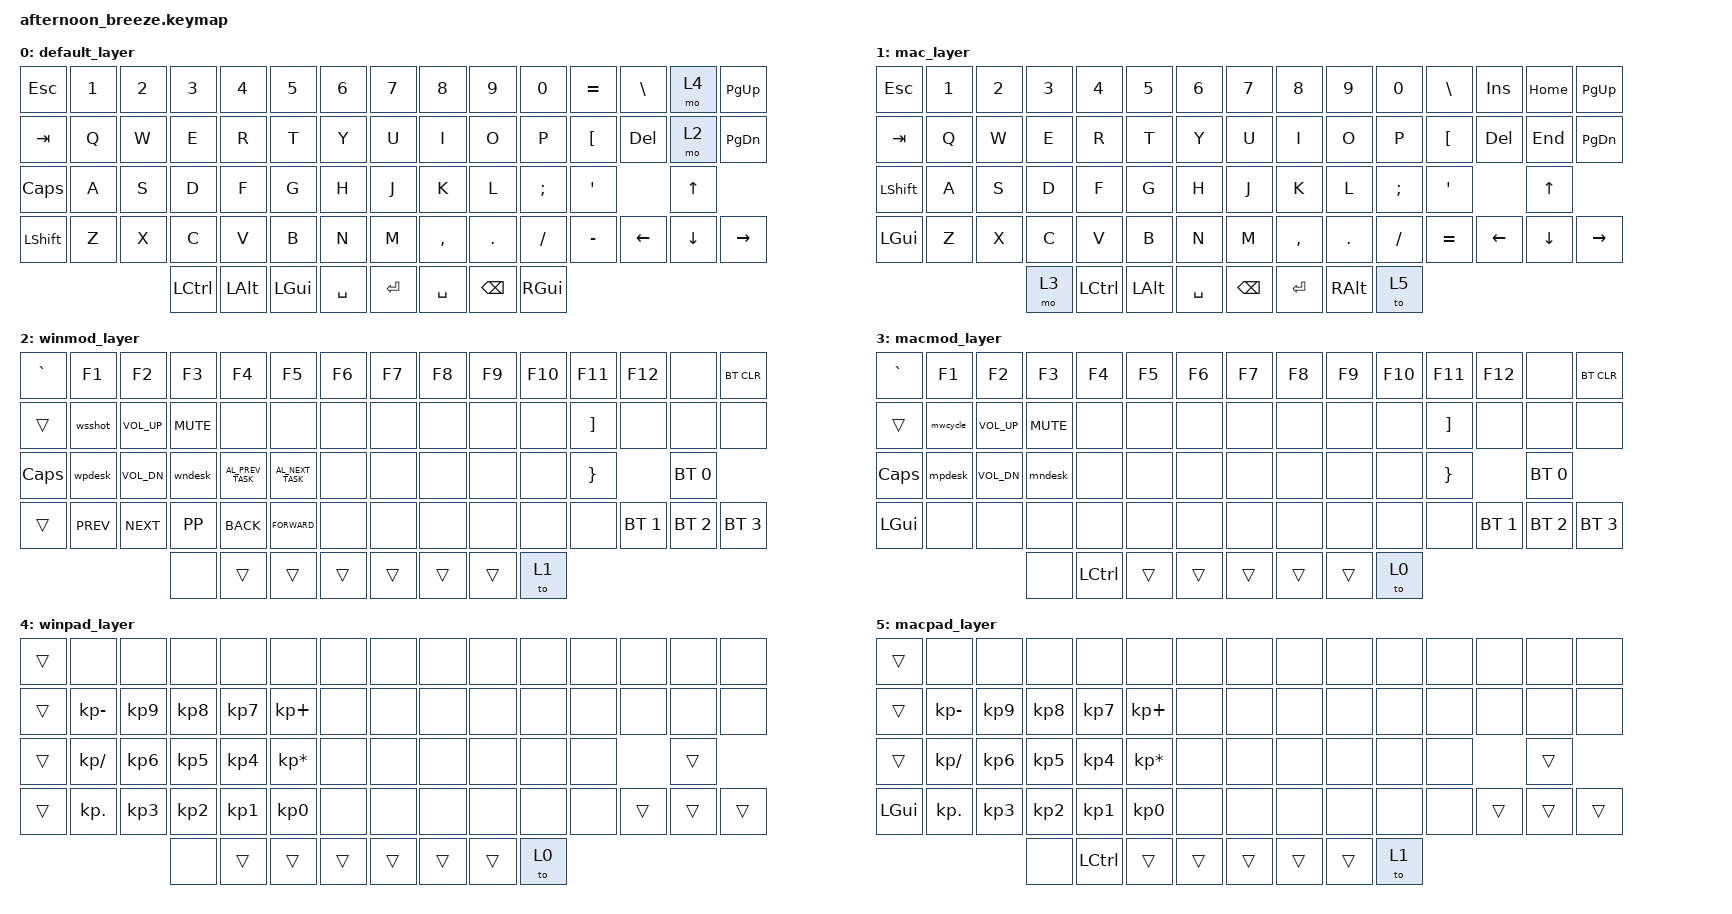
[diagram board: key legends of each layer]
/*
 * Copyright (c) 2022 The ZMK Contributors
 *
 * SPDX-License-Identifier: MIT
 */

#include <behaviors.dtsi>
#include <dt-bindings/zmk/keys.h>
#include <dt-bindings/zmk/bt.h>
#include <dt-bindings/zmk/ext_power.h>

#define DEFAULT 0
#define MAC 1
#define WINMOD 2
#define MACMOD 3
#define WINPAD 4
#define MACPAD 5

/ {

	macros {
		wsshot: wsshot {
            label = "Windows screenshot";
            compatible = "zmk,behavior-macro";
            #binding-cells = <0>;
            bindings =
				<&macro_press &kp LSHFT &kp LGUI>,
                <&macro_tap &kp S>,
                <&macro_release &kp LSHFT &kp LGUI>;
        };

        wpdesk: wpdesk {
            label = "Windows previous desktop";
            compatible = "zmk,behavior-macro";
            #binding-cells = <0>;
            bindings =
				<&macro_press &kp LCTRL &kp LGUI>,
                <&macro_tap &kp LEFT>,
                <&macro_release &kp LCTRL &kp LGUI>;
        };

		wndesk: wndesk {
			label = "Windows next desktop";
            compatible = "zmk,behavior-macro";
            #binding-cells = <0>;
            bindings =
				<&macro_press &kp LCTRL &kp LGUI>,
                <&macro_tap &kp RIGHT>,
                <&macro_release &kp LCTRL &kp LGUI>;
		};

		mpdesk: mpdesk {
			label = "Mac previous desktop";
            compatible = "zmk,behavior-macro";
            #binding-cells = <0>;
            bindings =
				<&macro_press &kp LCTRL>,
                <&macro_tap &kp LEFT>,
                <&macro_release &kp LCTRL>;
		};

		mndesk: mndesk {
			label = "Mac next desktop";
            compatible = "zmk,behavior-macro";
            #binding-cells = <0>;
            bindings =
				<&macro_press &kp LCTRL>,
                <&macro_tap &kp RIGHT>,
                <&macro_release &kp LCTRL>;
		};

		mmcontrol: mmcontrol {
			label = "Mac mission control";
            compatible = "zmk,behavior-macro";
            #binding-cells = <0>;
            bindings =
				<&macro_press &kp LCTRL>,
                <&macro_tap &kp UP>,
                <&macro_release &kp LCTRL>;
		};

		mcapp: mcapp {
			label = "Mac windows in current app";
            compatible = "zmk,behavior-macro";
            #binding-cells = <0>;
            bindings =
				<&macro_press &kp LCTRL>,
                <&macro_tap &kp DOWN>,
                <&macro_release &kp LCTRL>;
		};

		mwcycle: mwcycle {
			label = "Same app window cycle";
            compatible = "zmk,behavior-macro";
            #binding-cells = <0>;
            bindings =
				<&macro_press &kp LGUI>,
                <&macro_tap &kp GRAVE>,
                <&macro_release &kp LCTRL>;
		};
	};

	keymap {
		compatible = "zmk,keymap";

		default_layer {

// Ref: https://zmkfirmware.dev/docs/codes/

//  ----------------------------------------                       ------------------------------------------------------------------
// |  ESC  |  1  |  2  |  3   |  4   |  5   |                     |  6   |  7    |  8    |  9   |   0   |  =   | |  \  |WINPAD| PGUP |
// |-------|-----|-----|------|------|------|                     |------|-------|-------|------|-------|------| |-----|------|------|
// |  TAB  |  Q  |  W  |  E   |  R   |  T   |                     |  Y   |  U    |  I    |  O   |   P   |  [   | | DEL |WINMOD| PGDN |
// |-------|-----|-----|------|------|------|                     |------|-------|-------|------|-------|------|  -----|------|----- |
// | CAPS |  A  |  S  |  D   |  F   |  G   |                     |  H   |  J    |  K    |  L   |   ;   |  '   |       |  UP  |      |
// |-------|-----|-----|------|------|------|                     |------|-------|-------|------|-------|------|  -----|------|----- |
// | SHIFT |  Z  |  X  |  C   |  V   |  B   |                     |  N   |  M    |  ,    |  .   |   /   |  -   | LEFT | DOWN |RIGHT |
//  ---------------- ----------------------------              ------------------------------ ---------------------------------------
//                  |LCONTROL| LALT | LGUI | SPACE |            |ENTER| SPACE | BACKSPACE | RGUI |
//                   ----------------------------              ------------------------------
			bindings = <
&kp ESC     &kp N1 &kp N2 &kp N3 &kp N4   &kp N5                          &kp N6     &kp N7   &kp N8    &kp N9  &kp N0   &kp EQUAL  &kp BSLH  &mo 4     &kp PG_UP
&kp TAB     &kp Q  &kp W  &kp E  &kp R    &kp T                           &kp Y      &kp U    &kp I     &kp O   &kp P    &kp LBKT   &kp DEL   &mo 2     &kp PG_DN
&kp CAPS    &kp A  &kp S  &kp D  &kp F    &kp G                           &kp H      &kp J    &kp K     &kp L   &kp SEMI &kp APOS             &kp UP 
&kp LSHIFT  &kp Z  &kp X  &kp C  &kp V    &kp B                           &kp N      &kp M    &kp COMMA &kp DOT &kp FSLH &kp MINUS  &kp LEFT  &kp DOWN  &kp RIGHT
                         &kp LCTRL &kp LALT &kp LGUI &kp SPACE     &kp ENTER &kp SPACE &kp BSPC  &kp RGUI
			>;
		};

		mac_layer {

//  ----------------------------------------                       ------------------------------------------------------------------
// |  ESC  |  1  |  2  |  3   |  4   |  5   |                     |  6   |  7    |  8    |  9   |   0   |  \   | | INS | HOME | PGUP |
// |-------|-----|-----|------|------|------|                     |------|-------|-------|------|-------|------| |-----|------|------|
// |  TAB  |  Q  |  W  |  E   |  R   |  T   |                     |  Y   |  U    |  I    |  O   |   P   |  [   | | DEL | END  | PGDN |
// |-------|-----|-----|------|------|------|                     |------|-------|-------|------|-------|------|  -----|------|----- |
// | SHIFT |  A  |  S  |  D   |  F   |  G   |                     |  H   |  J    |  K    |  L   |   ;   |  '   |       |  UP  |      |
// |-------|-----|-----|------|------|------|                     |------|-------|-------|------|-------|------|  -----|------|----- |
// | LGUI  |  Z  |  X  |  C   |  V   |  B   |                     |  N   |  M    |  ,    |  .   |   /   |  =   | |LEFT | DOWN |RIGHT |
//  ---------------- ----------------------------              ------------------------------ ---------------------------------------
//                  |MACMOD|LCTRL | LALT | SPACE |            | BSPACE| ENTER| RALT  |MACPAD |
//                   ----------------------------              ------------------------------
			bindings = <
&kp ESC     &kp N1 &kp N2 &kp N3  &kp N4    &kp N5                      &kp N6   &kp N7   &kp N8    &kp N9  &kp N0   &kp BSLH   &kp INS   &kp HOME  &kp PG_UP
&kp TAB     &kp Q  &kp W  &kp E   &kp R     &kp T                       &kp Y    &kp U    &kp I     &kp O   &kp P    &kp LBKT   &kp DEL   &kp END   &kp PG_DN
&kp LSHFT   &kp A  &kp S  &kp D   &kp F     &kp G                       &kp H    &kp J    &kp K     &kp L   &kp SEMI &kp APOS             &kp UP 
&kp LGUI    &kp Z  &kp X  &kp C   &kp V     &kp B                       &kp N    &kp M    &kp COMMA &kp DOT &kp FSLH &kp EQUAL  &kp LEFT  &kp DOWN  &kp RIGHT
                          &mo 3   &kp LCTRL &kp LALT &kp SPACE &kp BSPC &kp RET  &kp RALT &to 5
			>;
		};

		winmod_layer {
//  ----------------------------------------                     --------------------------------------------------------------------
// | GRAVE |  F1 |  F2 |  F3  |  F4  |  F5  |                   |  F6  |  F7  |  F8  |  F9  |  F10  |  F11  | |  F12  |      |BT_CLR |
// |-------|-----|-----|------|------|------|                   |------|------|------|------|-------|-------| |-------|------|-------|
// | TAB   |WScSh|Vol+ | Mute |      |      |                   |      |      |      |      |       |   ]   | |       |      |       |
// |-------|-----|-----|------|------|------|                   |------|------|------|------|-------|-------|  -------|------|------ |
// | CAPS  |WPDes|Vol- |WNDes |PTask |NTask |                   |      |      |      |      |       |   }   |         | BT0  |       |
// |-------|-----|-----|------|------|------|                   |------|------|------|------|-------|-------|  -------|------|------ |
// | LCTRL |AuPrev|AuNext|Pause|PREV | NEXT |                   |      |      |      |      |       |       | | BT1   | BT2  | BT3   |
//  ---------------- ----------------------------           ----------------------------- -------------------------------------------
//                  |      | LGUI | LALT | SPACE |         | BSPACE |ENTER | RALT | MAC  |
//                   ----------------------------           -----------------------------
			bindings = <
&kp GRAVE &kp F1  	 &kp F2       &kp F3     &kp F4  	  		&kp F5                       &kp F6  &kp F7  &kp F8  &kp F9 &kp F10 &kp F11      &kp F12      &none         &bt BT_CLR
&trans    &wsshot    &kp C_VOL_UP &kp C_MUTE &none   	  		&none                        &none   &none   &none   &none  &none   &kp RBKT     &none        &none         &none
&kp CAPS  &wpdesk    &kp C_VOL_DN &wndesk    &kp C_AL_PREV_TASK &kp C_AL_NEXT_TASK           &none   &none   &none   &none  &none   &kp RBRC                  &bt BT_SEL 0
&trans    &kp K_PREV &kp K_NEXT   &kp K_PP   &kp K_BACK   		&kp K_FORWARD                &none   &none   &none   &none  &none   &none        &bt BT_SEL 1 &bt BT_SEL 2  &bt BT_SEL 3
                               &none      &trans  &trans  &trans       &trans  &trans  &trans  &to 1
			>;
		};

		macmod_layer {
//  ----------------------------------------                     --------------------------------------------------------------------
// | GRAVE |  F1 |  F2 |  F3  |  F4  |  F5  |                   |  F6  |  F7  |  F8  |  F9  |  F10  |  F11  | |  F12  |      |BT_CLR |
// |-------|-----|-----|------|------|------|                   |------|------|------|------|-------|-------| |-------|------|-------|
// | TAB   |mwcyc|Vol+ | Mute |      |      |                   |      |      |      |      |       |   ]   | |       |      |       |
// |-------|-----|-----|------|------|------|                   |------|------|------|------|-------|-------|  -------|------|------ |
// | CAPS  |MPDes|Vol- |MNDes |      |      |                   |      |      |      |      |       |   }   |         | BT0  |       |
// |-------|-----|-----|------|------|------|                   |------|------|------|------|-------|-------|  -------|------|------ |
// | LGUI  |     |     |      |      |      |                   |      |      |      |      |       |       | | BT1   | BT2  | BT3   |
//  ---------------- ----------------------------           ----------------------------- -------------------------------------------
//                  |      |LCTRL | LALT | SPACE |         | BSPACE |ENTER | RALT | WIN  |
//                   ----------------------------           -----------------------------
			bindings = <
&kp GRAVE &kp F1     &kp F2       &kp F3     &kp F4 &kp F5                       &kp F6  &kp F7  &kp F8  &kp F9 &kp F10 &kp F11      &kp F12      &none         &bt BT_CLR
&trans    &mwcycle   &kp C_VOL_UP &kp C_MUTE &none  &none                        &none   &none   &none   &none  &none   &kp RBKT     &none        &none         &none
&kp CAPS  &mpdesk    &kp C_VOL_DN &mndesk    &none  &none				   		 &none   &none   &none   &none  &none   &kp RBRC                  &bt BT_SEL 0
&kp LGUI  &none      &none        &none      &none  &none               		 &none   &none   &none   &none  &none   &none        &bt BT_SEL 1 &bt BT_SEL 2  &bt BT_SEL 3
                                &none      &kp LCTRL  &trans  &trans       &trans  &trans  &trans  &to 0
			>;
		};

		winpad_layer {
//  ------------------------------------                        ---------------------------------------------------------------------
// | ESC  |     |     |     |     |     |                      |      |       |       |      |       |       | |      |      |       |
// |------|-----|-----|-----|-----|-----|                      |------|-------|-------|------|-------|-------| |------|------|-------|
// | TAB  |  -  |  9  |  8  |  7  |  +  |                      |      |       |       |      |       |       | |      |      |       |
// |------|-----|-----|-----|-----|-----|                      |------|-------|-------|------|-------|-------|  ------|------|------ |
// |LSHIFT|  /  |  6  |  5  |  4  |  *  |                      |      |       |       |      |       |       |        |  UP  |       |
// |------|-----|-----|-----|-----|-----|                      |------|-------|-------|------|-------|-------|  ------|------|------ |
// |LCTRL |  .  |  3  |  2  |  1  |  0  |                      |      |       |       |      |       |       | | LEFT | DOWN | RIGHT |
//  --------------- -------------------------             ------------------------------- -------------------------------------------
//                 |     |LGUI |LALT | SPACE |           | BSPACE |ENTER | RALT  |WINPAD |
//                  -------------------------             -------------------------------
			bindings = <
&trans &none         &none     &none     &none     &none                             &none  &none  &none  &none &none &none     &none  &none  &none
&trans &kp KP_MINUS  &kp KP_N9 &kp KP_N8 &kp KP_N7 &kp KP_PLUS                       &none  &none  &none  &none &none &none     &none  &none  &none
&trans &kp KP_DIVIDE &kp KP_N6 &kp KP_N5 &kp KP_N4 &kp KP_MULTIPLY                   &none  &none  &none  &none &none &none            &trans
&trans &kp KP_DOT    &kp KP_N3 &kp KP_N2 &kp KP_N1 &kp KP_N0                         &none  &none  &none  &none &none &none     &trans &trans &trans
                               &none     &trans    &trans          &trans     &trans &trans &trans &to 0
			>;
		};

		macpad_layer {
//  ------------------------------------                        ---------------------------------------------------------------------
// | ESC  |     |     |     |     |     |                      |      |       |       |      |       |       | |      |      |       |
// |------|-----|-----|-----|-----|-----|                      |------|-------|-------|------|-------|-------| |------|------|-------|
// | TAB  |  -  |  9  |  8  |  7  |  +  |                      |      |       |       |      |       |       | |      |      |       |
// |------|-----|-----|-----|-----|-----|                      |------|-------|-------|------|-------|-------|  ------|------|------ |
// |LSHIFT|  /  |  6  |  5  |  4  |  *  |                      |      |       |       |      |       |       |        |  UP  |       |
// |------|-----|-----|-----|-----|-----|                      |------|-------|-------|------|-------|-------|  ------|------|------ |
// |LGUI  |  .  |  3  |  2  |  1  |  0  |                      |      |       |       |      |       |       | | LEFT | DOWN | RIGHT |
//  --------------- -------------------------             ------------------------------- -------------------------------------------
//                 |     |LCTRL|LALT | SPACE |           | BSPACE |ENTER | RALT  |MACPAD |
//                  -------------------------             -------------------------------
			bindings = <
&trans   &none         &none     &none     &none     &none                             &none  &none  &none  &none &none &none     &none  &none  &none
&trans   &kp KP_MINUS  &kp KP_N9 &kp KP_N8 &kp KP_N7 &kp KP_PLUS                       &none  &none  &none  &none &none &none     &none  &none  &none
&trans   &kp KP_DIVIDE &kp KP_N6 &kp KP_N5 &kp KP_N4 &kp KP_MULTIPLY                   &none  &none  &none  &none &none &none            &trans
&kp LGUI &kp KP_DOT    &kp KP_N3 &kp KP_N2 &kp KP_N1 &kp KP_N0                         &none  &none  &none  &none &none &none     &trans &trans &trans
                                 &none     &kp LCTRL &trans          &trans     &trans &trans &trans &to 1
			>;
		};
	};
};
